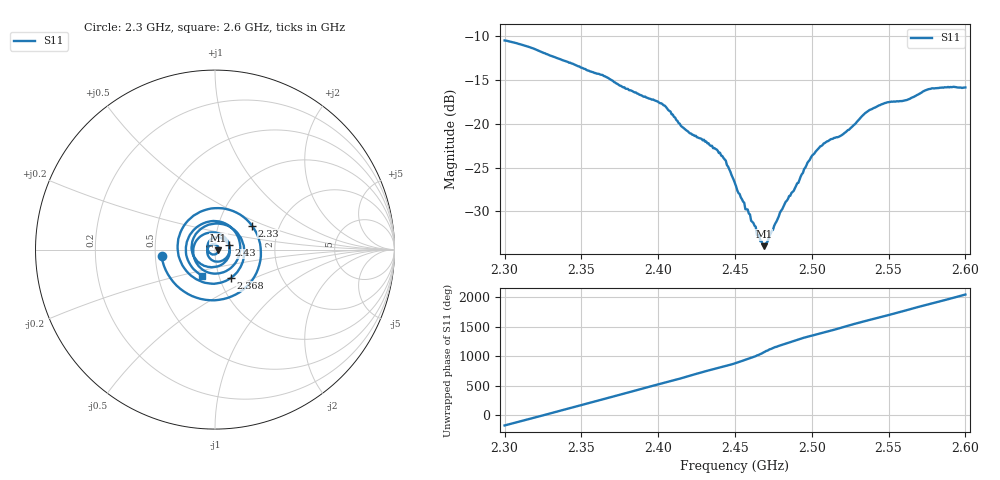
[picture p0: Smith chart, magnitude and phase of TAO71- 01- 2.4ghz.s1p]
! NanoVNA-App
! Date: 2026-05-22 15:35:03
! Start: 2.3GHz Stop: 2.6GHz Points: 401
! S-Parameter data: F S11
# Hz S RI R 50
!  Frequency  S11_Real  S11_Imag
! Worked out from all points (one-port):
!   401 points, 2.3 GHz to 2.6 GHz, reference 50 ohm
!   lowest |S11| = -34.0 dB at 2.469 GHz (marker M1), VSWR 1.04, Z = 52 - j0.492 ohm
!   |S11| at or under -10 dB: start of sweep to end of sweep
!   S11 on the Smith chart (normalised r, x): 2.3 GHz: 0.54, -0.04; 2.33 GHz: 1.45, +0.41; 2.368 GHz: 1.13, -0.37; 2.43 GHz: 1.17, +0.06; 2.6 GHz: 0.83, -0.25
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2.3e9  -0.2977 -0.0374
2.3075e9  -0.1505 -0.2474
2.3135e9  0.047 -0.2756
2.32175e9  0.2403 -0.1072
2.33e9  0.2053 0.1341
2.3375e9  0.0178 0.2312
2.345e9  -0.1623 0.1478
2.351e9  -0.2081 0.00212
2.36e9  -0.0881 -0.1726
2.36825e9  0.0882 -0.1579
2.375e9  0.1612 -0.0378
2.39e9  -0.00835 0.1437
2.40125e9  -0.1296 0.021
2.4125e9  -0.04 -0.0961
2.42975e9  0.0775 0.0244
2.4425e9  -0.0163 0.0619
2.45e9  -0.0426 0.0168
2.46875e9  0.0195 -0.00473
2.4875e9  -0.0405 0.00626
2.504e9  0.0311 -0.065
2.5145e9  0.0825 0.0113
2.525e9  0.00602 0.094
2.5415e9  -0.1171 -0.0422
2.552e9  0.000249 -0.1342
2.5625e9  0.133 -0.0358
2.579e9  -0.0236 0.1579
2.59025e9  -0.1621 0.0136
2.6e9  -0.0709 -0.1453
